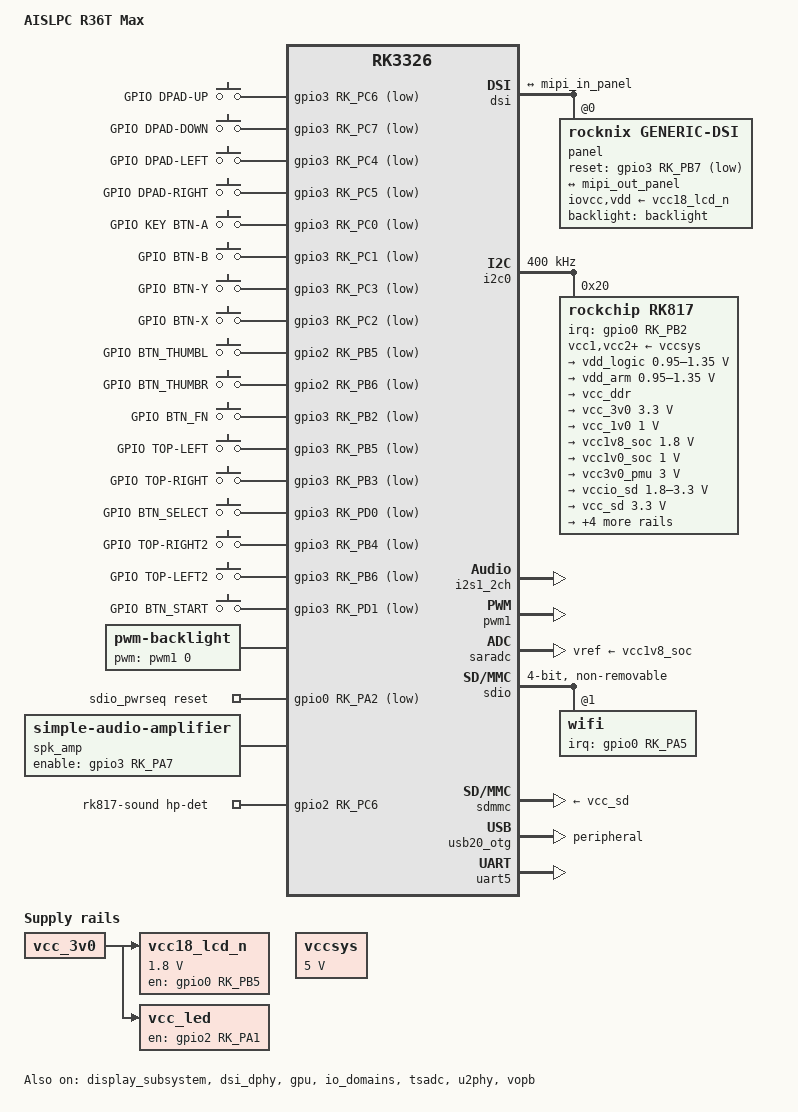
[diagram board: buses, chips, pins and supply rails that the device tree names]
// SPDX-License-Identifier: (GPL-2.0+ OR MIT)
/*
 * Device tree for the AISLPC R36T Max handheld.
 *
 * Copyright (c) 2026 Simon W. Jackson
 *
 * Written against mainline conventions so it can be submitted upstream, and
 * usable as-is if it never is. Values come from the running device: the
 * display controller for panel timings, resolved phandles from the vendor
 * device tree for GPIO assignments, and measured SDIO behaviour for the
 * Wi-Fi bus. Nothing is copied from the vendor tree's structure, which is a
 * generic Rockchip EVB with board nodes grafted onto it.
 *
 * Closest upstream relative is rk3326-anbernic-rg351m.dtsi: same SoC, same
 * RK817 PMIC, same I2S interface, same SD card wiring. Where this board
 * agrees with it, it deliberately says the same thing.
 *
 * The PMIC is declared as RK817, not identified by a silicon ID read.
 * The regulator table is not a verbatim vendor copy: vcc7's input and
 * BOOST's voltage constraints differ. The vendor also declares mixed
 * RK809/RK817 regulator nodes. See PANEL-PMIC-AUDIT.md for exact Linux
 * 6.12.63 matches, source differences and unresolved electrical routes.
 *
 * Unresolved, and deliberately absent rather than guessed:
 *
 *  - Analog sticks. ROCKNIX uses a GPIO-controlled multiplexer feeding
 *    SARADC channel 1, not four independent ADC inputs. Mux enable wiring,
 *    physical axis mapping and calibration still need hardware acceptance.
 *    The 17 GPIO game buttons below do not implement analog movement.
 *  - Battery/charger profile and amplifier electrical characteristics.
 *    The source-grounded speaker route below is not audible acceptance.
 */

/dts-v1/;
#include <dt-bindings/gpio/gpio.h>
#include <dt-bindings/input/input.h>
#include <dt-bindings/pinctrl/rockchip.h>
#include "rk3326.dtsi"

/ {
	model = "AISLPC R36T Max";
	compatible = "aislpc,r36t-max", "rockchip,rk3326";

	aliases {
		mmc0 = &sdmmc;
	};

	/*
	 * Persistent crash log. The stock firmware reserves this exact region
	 * for the same purpose, so it is memory the boot chain already treats
	 * as off limits, and a log written here survives the one-second
	 * panic reboot into the next kernel's /sys/fs/pstore.
	 *
	 * On a board with no console, this is the console. Keep it even after
	 * a wire exists; it costs 960 KB.
	 */
	reserved-memory {
		#address-cells = <2>;
		#size-cells = <2>;
		ranges;

		ramoops@110000 {
			compatible = "ramoops";
			reg = <0x0 0x110000 0x0 0xf0000>;
			record-size = <0x20000>;
			console-size = <0x80000>;
			pmsg-size = <0x50000>;
			max-reason = <5>;
		};
	};

	chosen {
		/*
		 * UART5, not the UART2 that most RK3326 boards use. The stock
		 * kernel is started with earlycon at 0xff178000, which is
		 * UART5 on this SoC. Boards in this clone family share the
		 * wiring; ROCKNIX retunes its DDR blob for the same reason.
		 */
		stdout-path = "serial5:1500000n8";
	};

	/*
	 * Buttons only, using Linux's native gpio-keys-polled binding and
	 * default device identity (no joystick name/product ID).
	 * GPIO/code pairs, 10 ms polling and btn_pins come from ROCKNIX:
	 * distribution@697d112a64e442e79e3d27b064351d917657301a,
	 * projects/ROCKNIX/devices/RK3326/linux/dts/rockchip/
	 * rk3326-gameconsole-eeclone.dts:166-265,819-841.
	 * Saved vendor rg42t.dts corroborates pins/polarity, not key codes;
	 * see README.md for its hash and the 19-versus-18 count discrepancy.
	 * Keep native 5 ms debounce; neither it nor the source labels are
	 * physical acceptance. Exclude volume PD2/PD3 and all mux/motor pins.
	 */
	gpio-keys-polled {
		compatible = "gpio-keys-polled";
		pinctrl-names = "default";
		pinctrl-0 = <&btn_pins>;
		poll-interval = <10>;

		button-up {
			gpios = <&gpio3 RK_PC6 GPIO_ACTIVE_LOW>;
			label = "GPIO DPAD-UP";
			linux,code = <BTN_DPAD_UP>;
		};

		button-down {
			gpios = <&gpio3 RK_PC7 GPIO_ACTIVE_LOW>;
			label = "GPIO DPAD-DOWN";
			linux,code = <BTN_DPAD_DOWN>;
		};

		button-left {
			gpios = <&gpio3 RK_PC4 GPIO_ACTIVE_LOW>;
			label = "GPIO DPAD-LEFT";
			linux,code = <BTN_DPAD_LEFT>;
		};

		button-right {
			gpios = <&gpio3 RK_PC5 GPIO_ACTIVE_LOW>;
			label = "GPIO DPAD-RIGHT";
			linux,code = <BTN_DPAD_RIGHT>;
		};

		button-a {
			gpios = <&gpio3 RK_PC0 GPIO_ACTIVE_LOW>;
			label = "GPIO KEY BTN-A";
			linux,code = <BTN_EAST>;
		};

		button-b {
			gpios = <&gpio3 RK_PC1 GPIO_ACTIVE_LOW>;
			label = "GPIO BTN-B";
			linux,code = <BTN_SOUTH>;
		};

		button-y {
			gpios = <&gpio3 RK_PC3 GPIO_ACTIVE_LOW>;
			label = "GPIO BTN-Y";
			linux,code = <BTN_WEST>;
		};

		button-x {
			gpios = <&gpio3 RK_PC2 GPIO_ACTIVE_LOW>;
			label = "GPIO BTN-X";
			linux,code = <BTN_NORTH>;
		};

		button-thumbl {
			gpios = <&gpio2 RK_PB5 GPIO_ACTIVE_LOW>;
			label = "GPIO BTN_THUMBL";
			linux,code = <BTN_THUMBL>;
		};

		button-thumbr {
			gpios = <&gpio2 RK_PB6 GPIO_ACTIVE_LOW>;
			label = "GPIO BTN_THUMBR";
			linux,code = <BTN_THUMBR>;
		};

		button-fn {
			gpios = <&gpio3 RK_PB2 GPIO_ACTIVE_LOW>;
			label = "GPIO BTN_FN";
			linux,code = <BTN_MODE>;
		};

		button-tl {
			gpios = <&gpio3 RK_PB5 GPIO_ACTIVE_LOW>;
			label = "GPIO TOP-LEFT";
			linux,code = <BTN_TL>;
		};

		button-tr {
			gpios = <&gpio3 RK_PB3 GPIO_ACTIVE_LOW>;
			label = "GPIO TOP-RIGHT";
			linux,code = <BTN_TR>;
		};

		button-select {
			gpios = <&gpio3 RK_PD0 GPIO_ACTIVE_LOW>;
			label = "GPIO BTN_SELECT";
			linux,code = <BTN_SELECT>;
		};

		button-tr2 {
			gpios = <&gpio3 RK_PB4 GPIO_ACTIVE_LOW>;
			label = "GPIO TOP-RIGHT2";
			linux,code = <BTN_TR2>;
		};

		button-tl2 {
			gpios = <&gpio3 RK_PB6 GPIO_ACTIVE_LOW>;
			label = "GPIO TOP-LEFT2";
			linux,code = <BTN_TL2>;
		};

		button-start {
			gpios = <&gpio3 RK_PD1 GPIO_ACTIVE_LOW>;
			label = "GPIO BTN_START";
			linux,code = <BTN_START>;
		};
	};

	/*
	 * The vendor backlight has no power-supply property. Its electrical
	 * feed is unresolved; PWM1 identifies brightness control only.
	 * SWITCH_REG2 is an RK809 descriptor, not a missing RK817 descriptor.
	 * Do not add a supply reference without evidence of the board route.
	 */
	backlight: backlight {
		compatible = "pwm-backlight";
		pwms = <&pwm1 0 25000 0>;
	};

	/*
	 * Vendor panel power-supply resolves to this GPIO0 PB5 fixed rail.
	 * The vendor declares neither voltage constraints nor vin-supply;
	 * the 1.8 V value and vcc_3v0 input below are not verified by that
	 * record. Preserve the current setup pending electrical evidence.
	 */
	vcc18_lcd_n: regulator-vcc18-lcd-n {
		compatible = "regulator-fixed";
		enable-active-high;
		gpio = <&gpio0 RK_PB5 GPIO_ACTIVE_HIGH>;
		regulator-name = "vcc18_lcd_n";
		regulator-boot-on;
		regulator-min-microvolt = <1800000>;
		regulator-max-microvolt = <1800000>;
		vin-supply = <&vcc_3v0>;

		regulator-state-mem {
			regulator-off-in-suspend;
		};
	};

	/*
	 * Ring lights around both analog sticks.
	 *
	 * Held on deliberately. This board's panel does not work yet and its USB
	 * port has produced no gadget, so the rings are the only thing it can
	 * say out loud. The regulator core switches this on during its own init,
	 * which is early: rings lit means the kernel got at least that far.
	 *
	 * Drop always-on once there is a real console and something owns the
	 * LEDs.
	 */
	vcc_led: regulator-vcc-led {
		compatible = "regulator-fixed";
		enable-active-high;
		gpio = <&gpio2 RK_PA1 GPIO_ACTIVE_HIGH>;
		pinctrl-names = "default";
		pinctrl-0 = <&led_vcc_en>;
		regulator-name = "vcc_led";
		regulator-always-on;
		regulator-boot-on;
		vin-supply = <&vcc_3v0>;
	};

	vccsys: regulator-vccsys {
		compatible = "regulator-fixed";
		regulator-name = "vcc5v0_sys";
		regulator-always-on;
		regulator-boot-on;
		regulator-min-microvolt = <5000000>;
		regulator-max-microvolt = <5000000>;
	};

	sdio_pwrseq: sdio-pwrseq {
		compatible = "mmc-pwrseq-simple";
		clocks = <&cru SCLK_WIFI_PMU>;
		clock-names = "ext_clock";
		pinctrl-names = "default";
		pinctrl-0 = <&wifi_enable_h>;
		post-power-on-delay-ms = <100>;
		/*
		 * The vendor tree declares this active-high. On a mainline
		 * kernel that inverts what mmc-pwrseq-simple asserts, and the
		 * June bring-up measured the result directly: active-high
		 * stopped SDIO enumerating at all, reporting
		 * "mmc2: Failed to initialize a non-removable card".
		 * Active-low enumerates, downloads firmware, and associates.
		 */
		reset-gpios = <&gpio0 RK_PA2 GPIO_ACTIVE_LOW>;
	};

	/*
	 * ROCKNIX distribution@697d112a64e442e79e3d27b064351d917657301a,
	 * rk3326-gameconsole-eeclone.dts:292-330,896-900. Vendor rg42t.dts
	 * spk-con-gpio corroborates GPIO3 PA7 active-high. No measured gain
	 * or controllable supply is known; do not invent either. The card now
	 * depends on the simple-amplifier auxiliary component probing.
	 */
	spk_amp: audio-amplifier {
		compatible = "simple-audio-amplifier";
		enable-gpios = <&gpio3 RK_PA7 GPIO_ACTIVE_HIGH>;
		pinctrl-0 = <&spk_amp_enable_h>;
		pinctrl-names = "default";
		sound-name-prefix = "Speaker Amp";
	};

	rk817-sound {
		compatible = "simple-audio-card";
		simple-audio-card,aux-devs = <&spk_amp>;
		simple-audio-card,name = "rk817_int";
		simple-audio-card,format = "i2s";
		simple-audio-card,hp-det-gpios = <&gpio2 RK_PC6 GPIO_ACTIVE_HIGH>;
		simple-audio-card,mclk-fs = <256>;
		simple-audio-card,widgets =
			"Microphone", "Mic Jack",
			"Headphone", "Headphones",
			"Speaker", "Internal Speakers";
		/* Route both amp channels: an unconnected output can keep DRV on. */
		simple-audio-card,routing =
			"MICL", "Mic Jack",
			"Headphones", "HPOL",
			"Headphones", "HPOR",
			"Internal Speakers", "Speaker Amp OUTL",
			"Internal Speakers", "Speaker Amp OUTR",
			"Speaker Amp INL", "HPOL",
			"Speaker Amp INR", "HPOR";
		simple-audio-card,pin-switches = "Internal Speakers";

		simple-audio-card,codec {
			sound-dai = <&rk817>;
		};

		simple-audio-card,cpu {
			sound-dai = <&i2s1_2ch>;
		};
	};
};

&cpu0 {
	cpu-supply = <&vdd_arm>;
};

&cpu1 {
	cpu-supply = <&vdd_arm>;
};

&cpu2 {
	cpu-supply = <&vdd_arm>;
};

&cpu3 {
	cpu-supply = <&vdd_arm>;
};

&display_subsystem {
	status = "okay";
};

&dsi {
	#address-cells = <1>;
	#size-cells = <0>;
	status = "okay";

	ports {
		mipi_out: port@1 {
			reg = <1>;

			mipi_out_panel: endpoint {
				remote-endpoint = <&mipi_in_panel>;
			};
		};
	};

	/*
	 * 720x720 at 61 Hz on a 50 MHz pixel clock, four DSI lanes. Read
	 * from the display controller while the stock system was running:
	 *
	 *   Display mode: 720x720p61  clk[50000]
	 *   H: 720 860 940 1080       V: 720 740 744 764
	 *
	 * Note that /sys/class/graphics/fb0 reports 680x680 on the stock
	 * system. That is the plane, inset 20 px inside the display, not the
	 * panel.
	 *
	 * NOT UPSTREAMABLE AS WRITTEN. This node drives ROCKNIX's
	 * data-driven panel driver, carried out of tree, with the description
	 * the community generator produced from this unit's stock dtb. It is
	 * here because seven boots of mainline's ST7703 driver with this
	 * glass's own sequence, timings and phase left the panel white, and
	 * this description draws on this exact unit under ROCKNIX. With a
	 * working screen in hand, the ST7703 entry can be made right and this
	 * node can use the candidate only after its supply binding, error
	 * cleanup and transaction schedule are checked on hardware.
	 *
	 * The description's lines: G is geometry, delays
	 * (prepare,reset,init,enable,ready), format, lanes and DSI flags.
	 * The ready delay is unused by the carried driver. M is a display
	 * mode; default=1 marks the preferred mode. I is one DCS write as
	 * hex. Its wait is also hex: 250 means 592 ms; 50 means 80 ms.
	 * The driver then adds display-on, sleep-out and 120 ms. Keep this
	 * schedule; source comparison does not establish minimum timing.
	 */
	panel: panel@0 {
		compatible = "rocknix,generic-dsi";
		reg = <0>;
		backlight = <&backlight>;
		reset-gpios = <&gpio3 RK_PB7 GPIO_ACTIVE_LOW>;
		iovcc-supply = <&vcc18_lcd_n>;
		vdd-supply = <&vcc18_lcd_n>;
		panel_description =
			"G size=153,85 delays=20,20,20,120,20 format=rgb888 lanes=4 flags=0xe03",
			"M clock=50000 horizontal=720,140,80,140 vertical=720,20,4,20 default=1",
			"M clock=50000 horizontal=720,140,100,140 vertical=720,20,150,20",
			"M clock=50040 horizontal=720,140,112,140 vertical=720,20,140,20",
			"M clock=51400 horizontal=720,140,132,140 vertical=720,20,148,20",
			"M clock=50140 horizontal=720,140,90,140 vertical=720,20,40,20",
			"M clock=56900 horizontal=720,140,90,140 vertical=720,20,114,20",
			"M clock=50400 horizontal=720,140,92,140 vertical=720,20,10,20",
			"M clock=50220 horizontal=720,140,80,140 vertical=720,20,15,20",
			"M clock=54600 horizontal=720,140,112,140 vertical=720,20,57,20",
			"M clock=75450 horizontal=720,140,95,140 vertical=720,20,153,20",
			"M clock=75330 horizontal=720,140,80,140 vertical=720,20,15,20",
			"M clock=100440 horizontal=720,140,80,140 vertical=720,20,15,20",
			"I seq=b9f11283",
			"I seq=b1000000da80",
			"I seq=b23c1230",
			"I seq=b31010282803ff00000000",
			"I seq=b480",
			"I seq=b50a0a",
			"I seq=b69797",
			"I seq=b82622f013",
			"I seq=ba338105f90e0e2000000000000000442500900a0000014f01000037",
			"I seq=bc47",
			"I seq=bf021100",
			"I seq=c0737350500000127000",
			"I seq=c12500323277e4ffffcccc7777",
			"I seq=c68200bfff00ff",
			"I seq=c7b8000a000000",
			"I seq=c810401e02",
			"I seq=cc0b",
			"I seq=e0000b102c3d3f423a070d0f131513140f16000b102c3d3f423a070d0f131513140f16",
			"I seq=e307070b0b0b0b00000000ff00c010",
			"I seq=e9c8100a000080811231234f86a000470800000c00000000000c00000098028baf4602888888888898138baf5713888888888800000000000000000000000000",
			"I seq=ea970c090909780000000000009f318ba8317588888888889f208ba820648888888888230000027100000000000000000000000000000040808100000000",
			"I seq=efffff01",
			"I seq=11 wait=250",
			"I seq=29 wait=50";

		port {
			mipi_in_panel: endpoint {
				remote-endpoint = <&mipi_out_panel>;
			};
		};
	};
};

&dsi_dphy {
	status = "okay";
};

&gpu {
	mali-supply = <&vdd_logic>;
	status = "okay";
};

&i2c0 {
	clock-frequency = <400000>;
	i2c-scl-falling-time-ns = <16>;
	i2c-scl-rising-time-ns = <280>;
	status = "okay";

	rk817: pmic@20 {
		compatible = "rockchip,rk817";
		reg = <0x20>;
		#clock-cells = <1>;
		clock-names = "mclk";
		clock-output-names = "rk808-clkout1", "xin32k";
		clocks = <&cru SCLK_I2S1_OUT>;
		interrupt-parent = <&gpio0>;
		interrupts = <RK_PB2 IRQ_TYPE_LEVEL_LOW>;
		pinctrl-0 = <&pmic_int>, <&i2s1_2ch_mclk>;
		pinctrl-names = "default";
		#sound-dai-cells = <0>;
		wakeup-source;

		vcc1-supply = <&vccsys>;
		vcc2-supply = <&vccsys>;
		vcc3-supply = <&vccsys>;
		vcc4-supply = <&vccsys>;
		vcc5-supply = <&vccsys>;
		vcc6-supply = <&vccsys>;
		vcc7-supply = <&vccsys>;
		vcc8-supply = <&vccsys>;

		regulators {
			vdd_logic: DCDC_REG1 {
				regulator-always-on;
				regulator-boot-on;
				regulator-min-microvolt = <950000>;
				regulator-max-microvolt = <1350000>;
				regulator-name = "vdd_logic";
				regulator-ramp-delay = <6001>;

				regulator-state-mem {
					regulator-on-in-suspend;
					regulator-suspend-microvolt = <950000>;
				};
			};

			vdd_arm: DCDC_REG2 {
				regulator-always-on;
				regulator-boot-on;
				regulator-min-microvolt = <950000>;
				regulator-max-microvolt = <1350000>;
				regulator-name = "vdd_arm";
				regulator-ramp-delay = <6001>;

				regulator-state-mem {
					regulator-off-in-suspend;
					regulator-suspend-microvolt = <950000>;
				};
			};

			vcc_ddr: DCDC_REG3 {
				regulator-always-on;
				regulator-boot-on;
				regulator-name = "vcc_ddr";

				regulator-state-mem {
					regulator-on-in-suspend;
				};
			};

			/*
			 * Named vcc_3v0 by the vendor but declared as 3.3 V there.
			 * It feeds io domains 4 and 5 in both trees. The name is not
			 * a voltage measurement. Keep the existing 3.3 V constraint.
			 */
			vcc_3v0: DCDC_REG4 {
				regulator-always-on;
				regulator-boot-on;
				regulator-min-microvolt = <3300000>;
				regulator-max-microvolt = <3300000>;
				regulator-name = "vcc_3v0";

				regulator-state-mem {
					regulator-off-in-suspend;
					regulator-suspend-microvolt = <3300000>;
				};
			};

			vcc_1v0: LDO_REG1 {
				regulator-always-on;
				regulator-boot-on;
				regulator-min-microvolt = <1000000>;
				regulator-max-microvolt = <1000000>;
				regulator-name = "vcc_1v0";

				regulator-state-mem {
					regulator-on-in-suspend;
					regulator-suspend-microvolt = <1000000>;
				};
			};

			vcc1v8_soc: LDO_REG2 {
				regulator-always-on;
				regulator-boot-on;
				regulator-min-microvolt = <1800000>;
				regulator-max-microvolt = <1800000>;
				regulator-name = "vcc1v8_soc";

				regulator-state-mem {
					regulator-on-in-suspend;
					regulator-suspend-microvolt = <1800000>;
				};
			};

			vcc1v0_soc: LDO_REG3 {
				regulator-always-on;
				regulator-boot-on;
				regulator-min-microvolt = <1000000>;
				regulator-max-microvolt = <1000000>;
				regulator-name = "vcc1v0_soc";

				regulator-state-mem {
					regulator-on-in-suspend;
					regulator-suspend-microvolt = <1000000>;
				};
			};

			/*
			 * 3.0 V, not the RG351M's 3.3 V. This is the PMU I/O domain
			 * supply, and pmu_io_domains configures the SoC's I/O
			 * voltage from it: the wrong number here is a wrong I/O
			 * voltage on every PMU-domain pin.
			 */
			vcc3v0_pmu: LDO_REG4 {
				regulator-always-on;
				regulator-boot-on;
				regulator-min-microvolt = <3000000>;
				regulator-max-microvolt = <3000000>;
				regulator-name = "vcc3v0_pmu";

				regulator-state-mem {
					regulator-on-in-suspend;
					regulator-suspend-microvolt = <3000000>;
				};
			};

			vccio_sd: LDO_REG5 {
				regulator-always-on;
				regulator-boot-on;
				regulator-min-microvolt = <1800000>;
				regulator-max-microvolt = <3300000>;
				regulator-name = "vccio_sd";

				regulator-state-mem {
					regulator-on-in-suspend;
					regulator-suspend-microvolt = <3300000>;
				};
			};

			vcc_sd: LDO_REG6 {
				regulator-min-microvolt = <3300000>;
				regulator-max-microvolt = <3300000>;
				regulator-name = "vcc_sd";

				regulator-state-mem {
					regulator-on-in-suspend;
					regulator-suspend-microvolt = <3300000>;
				};
			};

			/*
			 * The three DVP rails carry the vendor's names, which do not
			 * match their voltages, because the names are what the board
			 * calls them. vcc2v8_dvp feeds io domain 1 and is always on.
			 */
			vcc2v8_dvp: LDO_REG7 {
				regulator-always-on;
				regulator-boot-on;
				regulator-min-microvolt = <3300000>;
				regulator-max-microvolt = <3300000>;
				regulator-name = "vcc2v8_dvp";

				regulator-state-mem {
					regulator-on-in-suspend;
					regulator-suspend-microvolt = <3300000>;
				};
			};

			vcc1v8_dvp: LDO_REG8 {
				regulator-always-on;
				regulator-boot-on;
				regulator-min-microvolt = <3300000>;
				regulator-max-microvolt = <3300000>;
				regulator-name = "vcc1v8_dvp";

				regulator-state-mem {
					regulator-on-in-suspend;
					regulator-suspend-microvolt = <3300000>;
				};
			};

			vdd1v5_dvp: LDO_REG9 {
				regulator-always-on;
				regulator-boot-on;
				regulator-min-microvolt = <1500000>;
				regulator-max-microvolt = <1500000>;
				regulator-name = "vdd1v5_dvp";

				regulator-state-mem {
					regulator-off-in-suspend;
					regulator-suspend-microvolt = <1500000>;
				};
			};

			/*
			 * Vendor "boost" declares 4.8 V: dtc renders its cells as
			 * "", "I>" (00 49 3e 00). Linux 6.12.63 supports 4.7-5.4 V
			 * in 0.1 V steps. Preserve this differing constraint until
			 * the board route and operating requirements are verified.
			 */
			usb_midu: BOOST {
				regulator-always-on;
				regulator-boot-on;
				regulator-min-microvolt = <4900000>;
				regulator-max-microvolt = <5400000>;
				regulator-name = "usb_midu";
			};

			/*
			 * Vendor DCDC_REG5 and SWITCH_REG1/2 belong to the RK809
			 * descriptor set in Linux 6.12.63. RK817 instead has BOOST
			 * and OTG_SWITCH. Mixed vendor nodes do not prove extra
			 * silicon switches, their boot state or a backlight feed.
			 * Do not copy RK809 descriptors into rk817_reg[].
			 */
		};

		rk817_codec: codec {
			rockchip,mic-in-differential;
		};
	};
};

&i2s1_2ch {
	status = "okay";
};

/*
 * Each domain's supply is the vendor tree's resolved phandle. Domains 3
 * and 6 are 1.8 V on this board, not 3.3 V as on the RG351M; the io-domain
 * driver programs the SoC's pad voltage from these, so a wrong supply here
 * is a wrong voltage on a whole bank of pins.
 */
&io_domains {
	vccio1-supply = <&vcc2v8_dvp>;
	vccio2-supply = <&vccio_sd>;
	vccio3-supply = <&vcc1v8_soc>;
	vccio4-supply = <&vcc_3v0>;
	vccio5-supply = <&vcc_3v0>;
	vccio6-supply = <&vcc1v8_soc>;
	status = "okay";
};

&pmu_io_domains {
	pmuio1-supply = <&vcc3v0_pmu>;
	pmuio2-supply = <&vcc3v0_pmu>;
	status = "okay";
};

&pwm1 {
	status = "okay";
};

&saradc {
	vref-supply = <&vcc1v8_soc>;
	status = "okay";
};

/* SDIO, Wi-Fi only. */
&sdio {
	bus-width = <4>;
	cap-sd-highspeed;
	cap-sdio-irq;
	keep-power-in-suspend;
	/*
	 * 25 MHz, not the 50 the bus is capable of. Measured: at 50 MHz the
	 * card enumerates but RK915 firmware reset times out with -110.
	 * 25 MHz holds the bus stable long enough for firmware download,
	 * reset, scan, and association.
	 */
	max-frequency = <25000000>;
	mmc-pwrseq = <&sdio_pwrseq>;
	non-removable;
	no-mmc;
	no-sd;
	vqmmc-supply = <&vcc1v8_soc>;
	status = "okay";

	/* The prior RK915 proof and its pinned MMC patch use this property. */
	supports-rk912;
	wifi@1 {
		reg = <1>;
		interrupt-names = "host-wake";
		interrupt-parent = <&gpio0>;
		interrupts = <RK_PA5 IRQ_TYPE_LEVEL_HIGH>;
		pinctrl-names = "default";
		pinctrl-0 = <&wifi_host_wake>;
	};
};

&sdmmc {
	cap-sd-highspeed;
	card-detect-delay = <200>;
	sd-uhs-sdr12;
	sd-uhs-sdr25;
	sd-uhs-sdr50;
	sd-uhs-sdr104;
	vmmc-supply = <&vcc_sd>;
	vqmmc-supply = <&vccio_sd>;
	status = "okay";
};

&tsadc {
	status = "okay";
};

&u2phy {
	status = "okay";

	u2phy_host: host-port {
		status = "okay";
	};

	u2phy_otg: otg-port {
		status = "okay";
	};
};

&usb20_otg {
	/*
	 * Peripheral, not otg. The USB-C port has no ID pin to arbitrate with,
	 * and this port's job is the recovery console: a composed NCM plus ACM
	 * gadget over the one cable, because the UART console exists only on
	 * internal pads.
	 */
	dr_mode = "peripheral";
	status = "okay";
};

&uart5 {
	status = "okay";
};

&vopb {
	status = "okay";
};

&vopb_mmu {
	status = "okay";
};

/*
 * The vibration motor, gpio3 RK_PA6, is deliberately unclaimed.
 *
 * A gpio-hog on it was the one node in this tree that neither the vendor
 * tree nor ROCKNIX's carries, and the board it was meant to quiet never
 * went quiet. A hog is applied inside the GPIO bank's own probe, at 0.1 s
 * on this board, and an error there fails the whole bank: gpio3 never
 * registers, and the panel reset, the amplifier enable and the motor line
 * all sit on it. ROCKNIX leaves the line unclaimed and its boot is silent,
 * so quiet comes from elsewhere. Find where before claiming it again.
 */

&pinctrl {
	btns {
		btn_pins: btn-pins {
			rockchip,pins =
				<2 RK_PB5 RK_FUNC_GPIO &pcfg_pull_up>,
				<2 RK_PB6 RK_FUNC_GPIO &pcfg_pull_up>,
				<3 RK_PB2 RK_FUNC_GPIO &pcfg_pull_up>,
				<3 RK_PB3 RK_FUNC_GPIO &pcfg_pull_up>,
				<3 RK_PB4 RK_FUNC_GPIO &pcfg_pull_up>,
				<3 RK_PB5 RK_FUNC_GPIO &pcfg_pull_up>,
				<3 RK_PB6 RK_FUNC_GPIO &pcfg_pull_up>,
				<3 RK_PC0 RK_FUNC_GPIO &pcfg_pull_up>,
				<3 RK_PC1 RK_FUNC_GPIO &pcfg_pull_up>,
				<3 RK_PC2 RK_FUNC_GPIO &pcfg_pull_up>,
				<3 RK_PC3 RK_FUNC_GPIO &pcfg_pull_up>,
				<3 RK_PC4 RK_FUNC_GPIO &pcfg_pull_up>,
				<3 RK_PC5 RK_FUNC_GPIO &pcfg_pull_up>,
				<3 RK_PC6 RK_FUNC_GPIO &pcfg_pull_up>,
				<3 RK_PC7 RK_FUNC_GPIO &pcfg_pull_up>,
				<3 RK_PD0 RK_FUNC_GPIO &pcfg_pull_up>,
				<3 RK_PD1 RK_FUNC_GPIO &pcfg_pull_up>;
		};
	};

	speaker {
		spk_amp_enable_h: spk-amp-enable-h {
			rockchip,pins = <3 RK_PA7 RK_FUNC_GPIO &pcfg_pull_none>;
		};
	};

	leds {
		led_vcc_en: led-vcc-en {
			rockchip,pins = <2 RK_PA1 RK_FUNC_GPIO &pcfg_pull_none>;
		};
	};

	pmic {
		pmic_int: pmic-int {
			rockchip,pins = <0 RK_PB2 RK_FUNC_GPIO &pcfg_pull_up>;
		};
	};

	wifi {
		wifi_enable_h: wifi-enable-h {
			rockchip,pins = <0 RK_PA2 RK_FUNC_GPIO &pcfg_pull_none>;
		};

		wifi_host_wake: wifi-host-wake {
			rockchip,pins = <0 RK_PA5 RK_FUNC_GPIO &pcfg_pull_down>;
		};
	};
};
